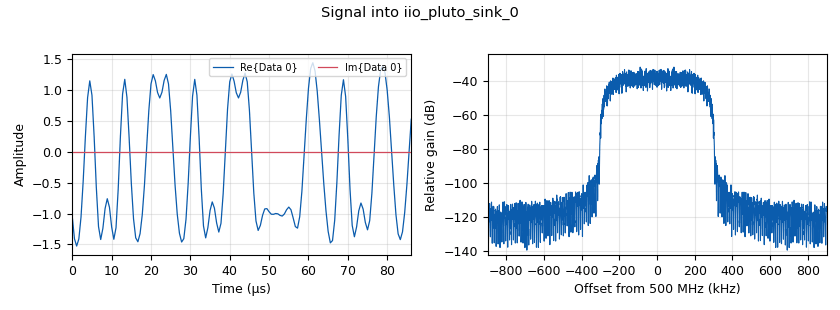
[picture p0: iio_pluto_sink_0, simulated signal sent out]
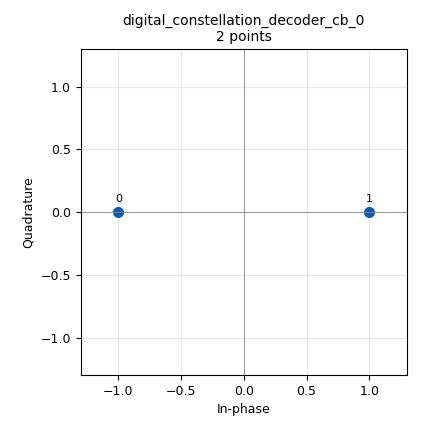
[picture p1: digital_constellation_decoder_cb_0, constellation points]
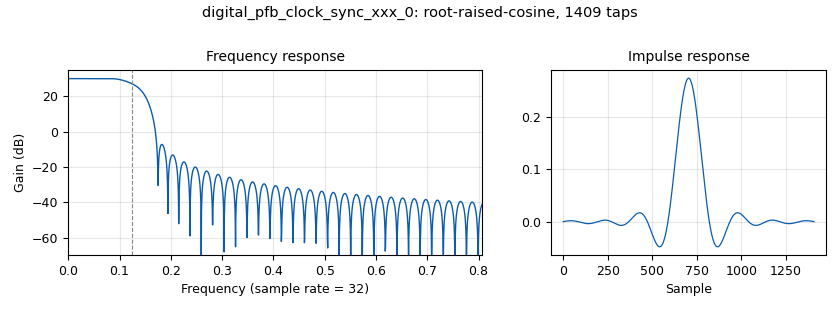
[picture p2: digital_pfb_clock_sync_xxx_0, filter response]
options:
  parameters:
    author: virgil
    generate_options: qt_gui
    id: Demo1
    max_nouts: '8000000'
    output_language: python
    title: SimpleTxRX
  states: {}

blocks:
- name: arity
  id: variable
  parameters:
    value: '4'
  states: {}
- name: constel
  id: variable_constellation
  parameters:
    const_points: digital.psk_4()[0]
    dims: '1'
    precision: '8'
    rot_sym: '4'
    soft_dec_lut: digital.soft_dec_table_generator(digital.sd_psk_4, 8, 1)
    sym_map: digital.psk_4()[1]
    type: calcdist
  states: {state: disabled}
- name: constel
  id: variable_constellation
  parameters:
    const_points: digital.qam_16()[0]
    dims: '1'
    precision: '8'
    rot_sym: '4'
    soft_dec_lut: '''auto'''
    sym_map: digital.qam_16()[1]
    type: calcdist
  states: {state: disabled}
- name: constel
  id: variable_constellation
  parameters:
    const_points: digital.psk_4()[0]
    dims: '1'
    precision: '8'
    rot_sym: '4'
    soft_dec_lut: '''auto'''
    sym_map: digital.psk_4()[1]
    type: calcdist
  states: {state: disabled}
- name: constel
  id: variable_constellation
  parameters:
    const_points: digital.psk_2()[0]
    dims: '1'
    precision: '8'
    rot_sym: '4'
    soft_dec_lut: '''auto'''
    sym_map: digital.psk_2()[1]
    type: calcdist
  states: {}
- name: constel
  id: variable_constellation
  parameters:
    const_points: digital.qam_16()[0]
    dims: '1'
    precision: '8'
    rot_sym: '4'
    soft_dec_lut: digital.soft_dec_table_generator(digital.sd_qam_16, 8, 1)
    sym_map: digital.qam_16()[1]
    type: calcdist
  states: {state: disabled}
- name: constel
  id: variable_constellation
  parameters:
    const_points: digital.psk_2()[0]
    dims: '1'
    precision: '8'
    rot_sym: '4'
    soft_dec_lut: digital.soft_dec_table_generator(digital.sd_psk_2, 8, 1)
    sym_map: digital.psk_2()[1]
    type: calcdist
  states: {state: disabled}
- name: delay
  id: variable_qtgui_chooser
  parameters:
    gui_hint: 0,1,1,1
    label: Delay
    label0: BPSK
    label1: QPSK
    label2: QAM16
    num_opts: '3'
    option0: '29'
    option1: '58'
    option2: '116'
    type: int
    value: '29'
  states: {}
- name: nfilts
  id: variable
  parameters:
    value: '32'
  states: {}
- name: rrc_taps
  id: variable
  parameters:
    value: firdes.root_raised_cosine(nfilts, nfilts, 1.0/float(sps), 0.35, 11*sps*nfilts)
  states: {}
- name: samp_rate
  id: variable
  parameters:
    value: '100000'
  states: {}
- name: sps
  id: variable
  parameters:
    value: '4'
  states: {}
- name: analog_random_source_x_0
  id: analog_random_source_x
  parameters:
    max: '256'
    min: '0'
    num_samps: '200'
    repeat: 'True'
    type: byte
  states: {}
- name: blocks_char_to_float_0
  id: blocks_char_to_float
  parameters:
    scale: '1'
  states: {}
- name: blocks_char_to_float_0_0
  id: blocks_char_to_float
  parameters:
    scale: '1'
  states: {}
- name: blocks_unpack_k_bits_bb_0
  id: blocks_unpack_k_bits_bb
  parameters:
    k: constel.bits_per_symbol()
  states: {}
- name: correctiq_correctiq_0
  id: correctiq_correctiq
  parameters: {}
  states: {}
- name: digital_binary_slicer_fb_0
  id: digital_binary_slicer_fb
  parameters: {}
  states: {}
- name: digital_constellation_decoder_cb_0
  id: digital_constellation_decoder_cb
  parameters:
    constellation: constel
  states: {}
- name: digital_constellation_modulator_0
  id: digital_constellation_modulator
  parameters:
    constellation: constel
    differential: 'False'
    excess_bw: '0.35'
    samples_per_symbol: sps
  states: {}
- name: digital_constellation_soft_decoder_cf_0
  id: digital_constellation_soft_decoder_cf
  parameters:
    constellation: constel
  states: {}
- name: digital_map_bb_0_0
  id: digital_map_bb
  parameters:
    map: constel.pre_diff_code()
  states: {}
- name: digital_pfb_clock_sync_xxx_0
  id: digital_pfb_clock_sync_xxx
  parameters:
    filter_size: nfilts
    init_phase: nfilts/2
    loop_bw: 6.28/100.0
    max_dev: '1.5'
    osps: '1'
    sps: sps
    taps: rrc_taps
    type: ccf
  states: {}
- name: iio_pluto_sink_0
  id: iio_pluto_sink
  parameters:
    attenuation1: '5.0'
    auto_filter: 'True'
    bandwidth: '1000000'
    buffer_size: '32768'
    cyclic: 'False'
    frequency: '500000000'
    samplerate: int(1.8e6)
    uri: ip:192.168.2.1
  states: {}
- name: import_cmath
  id: import
  parameters:
    imports: import cmath
  states: {}
- name: import_math
  id: import
  parameters:
    imports: import math
  states: {}
- name: note_auto
  id: note
  parameters:
    note: auto-build LUT
  states: {}
- name: note_py
  id: note
  parameters:
    note: Python-generated LUT
  states: {}
- name: qtgui_const_sink_x_1
  id: qtgui_const_sink_x
  parameters:
    gui_hint: 1,0,1,1
    name: ''
    size: '1024'
    type: complex
  states: {}
- name: qtgui_sink_x_0
  id: qtgui_sink_x
  parameters:
    bw: '1000000'
    fc: 500e6
    fftsize: '1024'
    showrf: 'True'
    type: complex
    wintype: firdes.WIN_BLACKMAN_hARRIS
  states: {}
- name: qtgui_time_sink_x_0
  id: qtgui_time_sink_x
  parameters:
    gui_hint: 1,1,1,1
    label1: Soft
    label2: Hard
    name: ''
    nconnections: '2'
    size: '500'
    srate: samp_rate
    type: float
    update_time: '0.05'
    ymax: '2'
  states: {}
- name: rtlsdr_source_0
  id: rtlsdr_source
  parameters:
    bb_gain0: '20'
    bw0: '1000000'
    freq0: 500e6
    gain0: '20'
    gain_mode0: 'False'
    if_gain0: '20'
    sample_rate: 1.8e6
    sync: sync
    type: fc32
  states: {}

connections:
- [analog_random_source_x_0, '0', digital_constellation_modulator_0, '0']
- [blocks_char_to_float_0, '0', qtgui_time_sink_x_0, '1']
- [blocks_char_to_float_0_0, '0', qtgui_time_sink_x_0, '0']
- [blocks_unpack_k_bits_bb_0, '0', blocks_char_to_float_0, '0']
- [correctiq_correctiq_0, '0', digital_pfb_clock_sync_xxx_0, '0']
- [correctiq_correctiq_0, '0', qtgui_sink_x_0, '0']
- [digital_binary_slicer_fb_0, '0', blocks_char_to_float_0_0, '0']
- [digital_constellation_decoder_cb_0, '0', digital_map_bb_0_0, '0']
- [digital_constellation_modulator_0, '0', iio_pluto_sink_0, '0']
- [digital_constellation_soft_decoder_cf_0, '0', digital_binary_slicer_fb_0, '0']
- [digital_map_bb_0_0, '0', blocks_unpack_k_bits_bb_0, '0']
- [digital_pfb_clock_sync_xxx_0, '0', digital_constellation_decoder_cb_0, '0']
- [digital_pfb_clock_sync_xxx_0, '0', digital_constellation_soft_decoder_cf_0, '0']
- [digital_pfb_clock_sync_xxx_0, '0', qtgui_const_sink_x_1, '0']
- [rtlsdr_source_0, '0', correctiq_correctiq_0, '0']

metadata:
  file_format: 1
